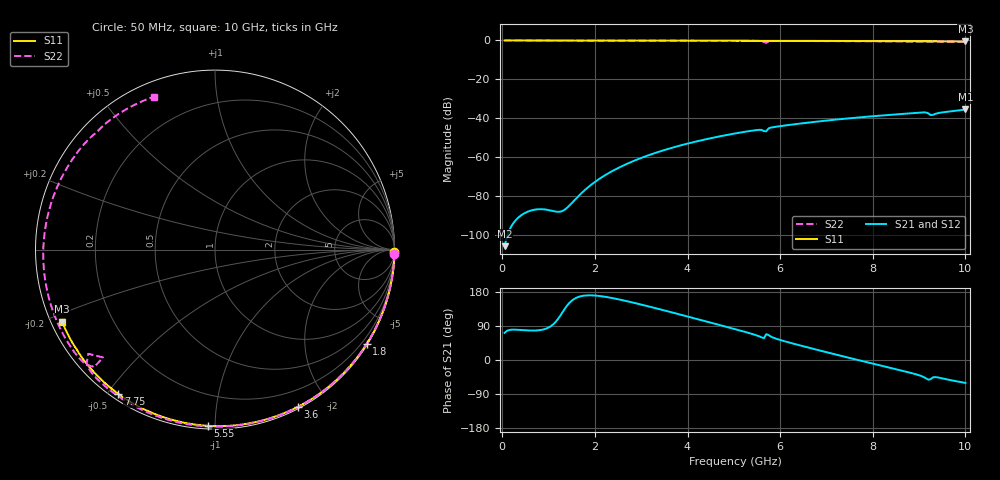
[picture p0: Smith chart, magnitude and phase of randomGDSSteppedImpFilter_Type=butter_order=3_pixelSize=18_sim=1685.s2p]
! freq	dB(S11)	phase(S11)	dB(S12)	phase(S12)
!  dB(S21)	phase(S21)	dB(S22)	phase(S22)
!S-par simulation data
#  GHz  S  DB  R 50
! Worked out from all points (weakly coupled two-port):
!   200 points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, 50 MHz to 10 GHz, reference 50 ohm
!   highest |S21| = -35.39 dB at 10 GHz (marker M1); lowest = -105.5 dB at 50 MHz (marker M2)
!   lowest |S11| = -0.5 dB at 10 GHz (marker M3), VSWR 33.15, Z = 1.58 - j11.2 ohm
!   |S11| at or under -10 dB: nowhere
!   |S22| runs from -1.2 to 0.0 dB; largest |S21 - S12| = 0
!   S11 on the Smith chart (normalised r, x): 50 MHz: open; 1.8 GHz: 0.03, -3.49; 3.6 GHz: 0.02, -1.66; 5.55 GHz: 0.02, -0.96; 7.75 GHz: 0.02, -0.53; 10 GHz: 0.03, -0.22
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0.05  -0.00 -0.9  -105.53 71.6  -105.53 71.6  -0.00 -1.3
0.8  -0.02 -14.4  -86.57 78.6  -86.57 78.6  -0.02 -21.3
1.6  -0.04 -28.5  -80.92 164.2  -80.92 164.2  -0.05 -42.1
1.75  -0.04 -31.1  -77.43 169.6  -77.43 169.6  -0.06 -45.9
1.8  -0.04 -32.0  -76.37 170.3  -76.37 170.3  -0.06 -47.2
2.1  -0.05 -37.2  -70.93 168.9  -70.93 168.9  -0.07 -54.7
2.45  -0.06 -43.1  -66.06 161.6  -66.06 161.6  -0.08 -63.4
3.4  -0.08 -59.0  -56.95 133.9  -56.95 133.9  -0.11 -86.2
3.6  -0.08 -62.2  -55.50 127.6  -55.50 127.6  -0.12 -90.9
4.3  -0.10 -73.4  -51.20 105.1  -51.20 105.1  -0.15 -107.0
5.05  -0.13 -84.9  -47.60 80.6  -47.60 80.6  -0.19 -124.0
5.55  -0.15 -92.4  -45.85 62.4  -45.85 62.4  -0.29 -136.6
5.65  -0.16 -93.9  -46.49 57.6  -46.49 57.6  -0.78 -140.6
5.7  -0.16 -94.6  -46.60 68.1  -46.60 68.1  -1.25 -136.1
5.75  -0.16 -95.4  -45.11 65.8  -45.11 65.8  -0.56 -135.8
5.95  -0.17 -98.3  -44.12 54.7  -44.12 54.7  -0.27 -142.4
6.7  -0.21 -109.1  -41.88 30.0  -41.88 30.0  -0.31 -160.0
7.75  -0.29 -123.8  -39.38 -2.1  -39.38 -2.1  -0.41 175.1
8.35  -0.34 -132.0  -38.21 -19.9  -38.21 -19.9  -0.48 159.9
9.1  -0.42 -142.3  -36.89 -45.0  -36.89 -45.0  -0.59 139.3
9.25  -0.44 -144.4  -38.25 -50.5  -38.25 -50.5  -0.64 135.1
10  -0.52 -154.7  -35.39 -60.4  -35.39 -60.4  -0.75 111.8
